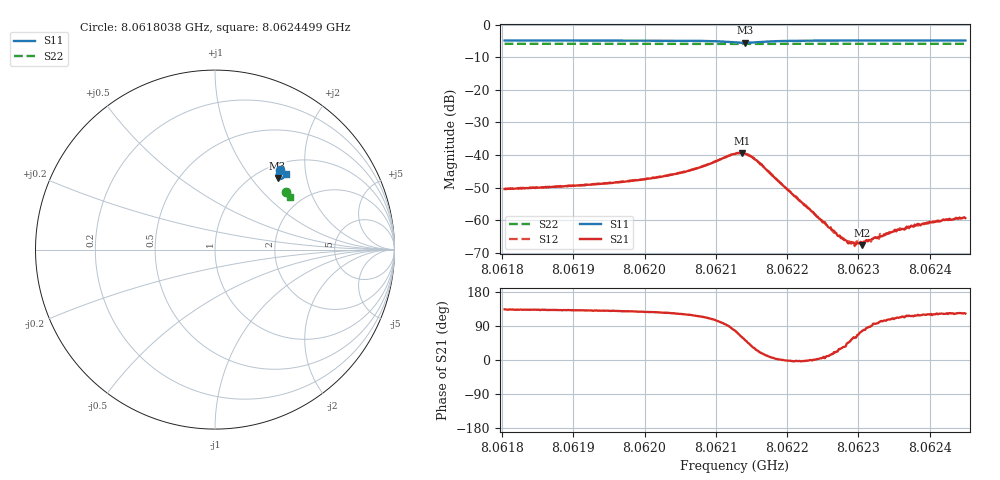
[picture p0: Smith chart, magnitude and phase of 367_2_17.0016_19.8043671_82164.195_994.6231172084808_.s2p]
#  HZ  S  RI  R  50.00
! Rohde & Schwarz Vector Network Analyzer
! Rohde-Schwarz,ZNB20-2Port,1311601062101988,3.16
! Created: UTC 3/20/2024, 11:08:34 PM
! freq[Hz]  re:S11  im:S11  re:S21  im:S21  re:S12  im:S12  re:S22  im:S22
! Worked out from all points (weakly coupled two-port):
!   401 points, 8.0618038 GHz to 8.0624499 GHz, reference 50 ohm
!   highest |S21| = -39.34 dB at 8.0621365 GHz (marker M1); lowest = -67.6 dB at 8.0623045 GHz (marker M2)
!   lowest |S11| = -5.5 dB at 8.0621414 GHz (marker M3), VSWR 3.26, Z = 61.6 + j68.4 ohm
!   |S11| at or under -10 dB: nowhere
!   |S22| runs from -5.9 to -5.8 dB; largest |S21 - S12| = 0.00083
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8.06180376e9  0.3645 0.4459  -0.00208 0.00217  -0.00197 0.00236  0.3973 0.3236
8.06191199e9  0.3719 0.4396  -0.00228 0.0026  -0.00209 0.00274  0.4014 0.3181
8.06197661e9  0.3768 0.4344  -0.00247 0.00308  -0.00231 0.00328  0.4039 0.3148
8.06202022e9  0.3803 0.4298  -0.00268 0.00372  -0.00246 0.0039  0.4055 0.3127
8.06207191e9  0.3848 0.4197  -0.00278 0.00549  -0.00245 0.0057  0.4071 0.3097
8.06212684e9  0.3672 0.3934  0.00222 0.0101  0.00304 0.0102  0.4079 0.306
8.06213653e9  0.3545 0.3953  0.00533 0.00938  0.00589 0.0091  0.4078 0.3056
8.06214137e9  0.3488 0.3993  0.00645 0.00823  0.00702 0.00783  0.4078 0.3059
8.06214945e9  0.3433 0.4093  0.00754 0.00581  0.00793 0.00532  0.408 0.306
8.06216076e9  0.3443 0.4224  0.0071 0.00273  0.00718 0.00238  0.4085 0.306
8.06223507e9  0.3722 0.4346  0.00135 -3.25e-05  0.00133 -4.9e-05  0.4125 0.3028
8.06226576e9  0.3773 0.4327  0.000638 0.000242  0.000615 0.000172  0.4138 0.301
8.06228353e9  0.3794 0.4315  0.000352 0.000326  0.00038 0.000297  0.4145 0.3002
8.0622916e9  0.3804 0.431  0.000243 0.000374  0.000273 0.000391  0.4147 0.2995
8.06230453e9  0.3818 0.4302  0.000101 0.000404  0.000112 0.000442  0.4153 0.299
8.06232553e9  0.3837 0.4288  -5.75e-05 0.000525  -2.33e-05 0.000516  0.4159 0.2979
8.0623336e9  0.3844 0.4283  -0.00012 0.000553  -0.000112 0.000567  0.4161 0.2975
8.0623433e9  0.3852 0.4278  -0.000186 0.000602  -0.000178 0.000633  0.4166 0.2969
8.06235622e9  0.3863 0.427  -0.000257 0.000664  -0.000237 0.000682  0.4172 0.2962
8.06238206e9  0.3883 0.4254  -0.000394 0.000745  -0.000379 0.000778  0.4179 0.295
8.06242083e9  0.391 0.4232  -0.000531 0.000855  -0.00047 0.000886  0.4192 0.2929
8.06244991e9  0.3929 0.4215  -0.000579 0.000905  -0.000587 0.000946  0.4202 0.2916
